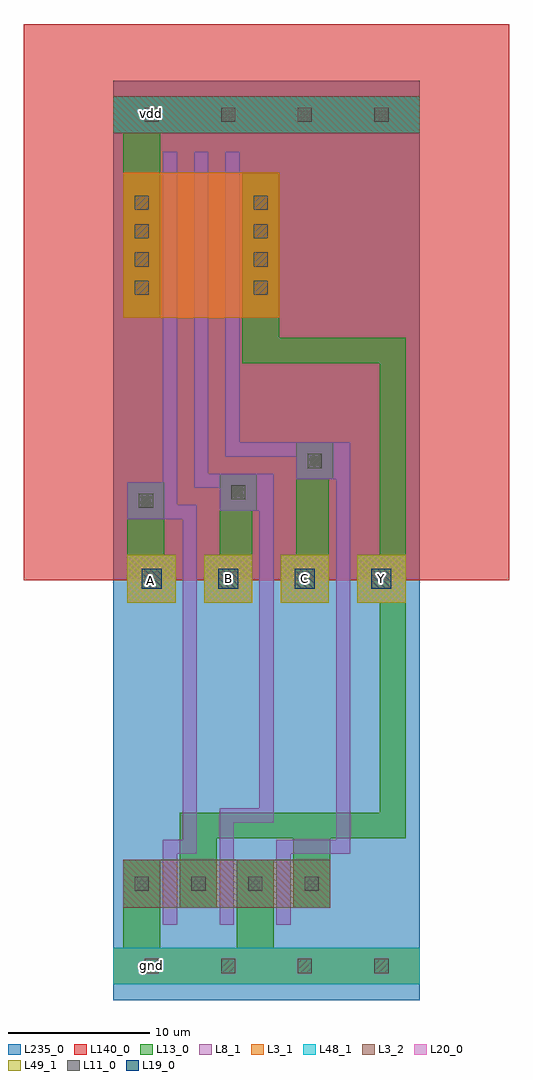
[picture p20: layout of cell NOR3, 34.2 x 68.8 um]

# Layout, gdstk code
import gdstk
lib = gdstk.Library(unit=1e-6, precision=1e-09)
def R(c, l, rs):  # rectangles x0, y0, x1, y1
    for r in rs: c.add(gdstk.rectangle(r[:2], r[2:], *l))
def A(c, l, x, y, w, h, nx, ny, dx, dy):  # array of equal rectangles
    R(c, l, [(x+i*dx, y+j*dy, x+i*dx+w, y+j*dy+h) for i in range(nx) for j in range(ny)])
def P(c, l, *ps):  # polygons
    for p in ps: c.add(gdstk.Polygon(p, *l))
L3_1 = (3, 1)
L3_2 = (3, 2)
L8_1 = (8, 1)
L11_0 = (11, 0)
L13_0 = (13, 0)
L19_0 = (19, 0)
L20_0 = (20, 0)
L48_1 = (48, 1)
L49_1 = (49, 1)
L140_0 = (140, 0)
L235_0 = (235, 0)

nor3 = lib.new_cell('NOR3')
R(nor3, L3_1, [(0,1.1,21.6,3.7), (0.7,48.1,11.7,58.3)])
R(nor3, L3_2, [(0.7,6.5,15.3,9.9), (0,61.1,21.6,63.7)])
P(nor3, L8_1, [(7.5,5.3),(7.5,13.5),(10.3,13.5),(10.3,34.5),(7.5,34.5),(7.5,36.1),(5.7,36.1),(5.7,59.8),(6.7,59.8),(6.7,37.1),(11.3,37.1),(11.3,12.5),(8.5,12.5),(8.5,5.3)],
  [(3.5,5.3),(3.5,11.3),(4.9,11.3),(4.9,33.9),(1,33.9),(1,36.5),(3.5,36.5),(3.5,59.8),(4.5,59.8),(4.5,34.9),(5.9,34.9),(5.9,10.3),(4.5,10.3),(4.5,5.3)],
  [(11.5,5.3),(11.5,11.3),(15.7,11.3),(15.7,36.7),(12.9,36.7),(12.9,38.3),(7.9,38.3),(7.9,59.8),(8.9,59.8),(8.9,39.3),(16.7,39.3),(16.7,10.3),(12.5,10.3),(12.5,5.3)])
A(nor3, L11_0, 7.6, 1.9, 1, 1, 3, 2, 5.4, 60)
A(nor3, L11_0, 1.5, 7.7, 1, 1, 4, 1, 4, 0)
A(nor3, L11_0, 1.5, 49.7, 1, 1, 1, 4, 0, 2)
A(nor3, L11_0, 9.9, 49.7, 1, 1, 1, 4, 0, 2)
R(nor3, L11_0, [(2.2,1.9,3.2,2.9), (7.6,1.9,8.6,2.9), (1.8,34.7,2.8,35.7), (8.3,35.3,9.3,36.3), (13.7,37.5,14.7,38.5), (2.2,61.9,3.2,62.9), (2.2,61.9,3.2,62.9), (7.6,61.9,8.6,62.9), (7.6,61.9,8.6,62.9), (7.6,61.9,8.6,62.9)])
R(nor3, L13_0, [(0,1.1,21.6,3.7), (0.7,3.7,3.3,9.9), (8.7,3.7,11.3,9.9), (12.7,6.5,15.3,11.4), (1,28,4.4,31.4), (1,28,4.4,31.4), (6.4,28,9.8,31.4), (6.4,28,9.8,31.4), (11.8,28,15.2,31.4), (11.8,28,15.2,31.4), (17.2,28,20.6,31.4), (1,31.4,3.6,36.5), (0.7,48.1,3.3,61.1), (0,61.1,21.6,63.7)])
P(nor3, L13_0, [(12.9,31.4),(12.9,39.3),(15.5,39.3),(15.5,36.7),(15.2,36.7),(15.2,31.4)],
  [(7.5,31.4),(7.5,37.1),(10.1,37.1),(10.1,34.5),(9.8,34.5),(9.8,31.4)],
  [(4.7,6.5),(4.7,13.2),(18.8,13.2),(18.8,28),(17.2,28),(17.2,31.4),(18.8,31.4),(18.8,44.9),(9.1,44.9),(9.1,58.3),(11.7,58.3),(11.7,46.7),(20.6,46.7),(20.6,11.4),(7.3,11.4),(7.3,6.5)])
A(nor3, L19_0, 2, 29, 1.4, 1.4, 4, 1, 5.4, 0)
A(nor3, L20_0, 1, 28, 3.4, 3.4, 4, 1, 5.4, 0)
R(nor3, L48_1, [(0,1.1,21.6,3.7), (0,61.1,21.6,63.7)])
A(nor3, L49_1, 1, 28, 3.4, 3.4, 4, 1, 5.4, 0)
R(nor3, L140_0, [(-6.3,29.6,27.9,68.8)])
R(nor3, L235_0, [(0,0,21.6,64.8)])
nor3.add(gdstk.Label('Y', (18.9,29.7), layer=49, texttype=0))
nor3.add(gdstk.Label('C', (13.5,29.7), layer=49, texttype=0))
nor3.add(gdstk.Label('A', (2.6,29.6), layer=49, texttype=0))
nor3.add(gdstk.Label('B', (8.1,29.7), layer=49, texttype=0))
nor3.add(gdstk.Label('gnd', (2.7,2.4), layer=48, texttype=0))
nor3.add(gdstk.Label('vdd', (2.7,62.5), layer=48, texttype=0))

lib.write_gds('NOR3.gds')
